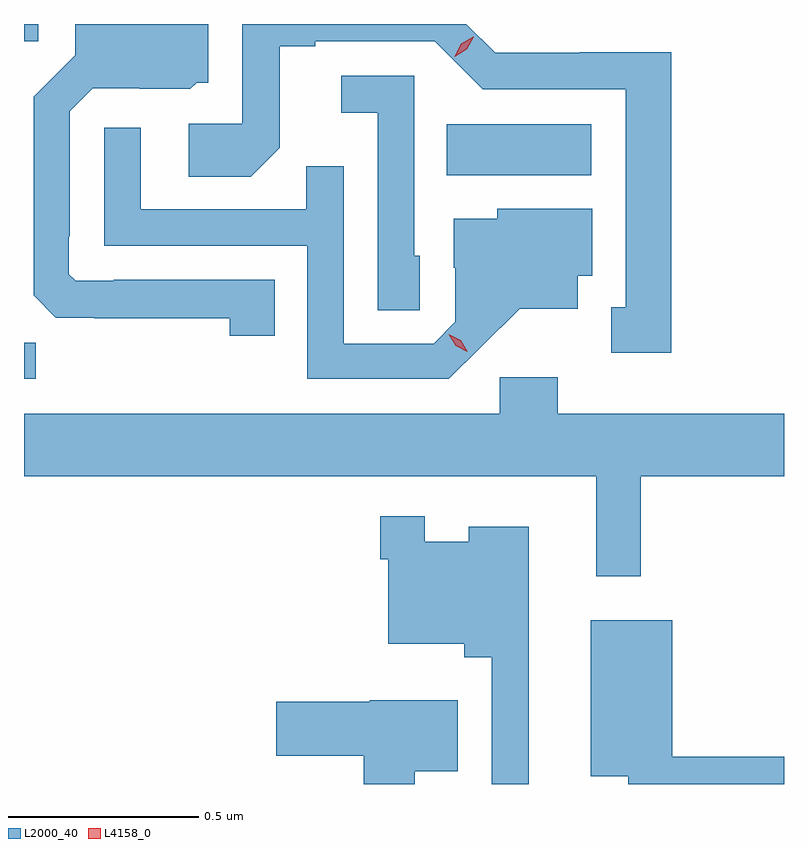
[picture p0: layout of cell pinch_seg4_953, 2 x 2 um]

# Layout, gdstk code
import gdstk
lib = gdstk.Library(unit=1e-6, precision=1e-09)
def R(c, l, rs):  # rectangles x0, y0, x1, y1
    for r in rs: c.add(gdstk.rectangle(r[:2], r[2:], *l))
def P(c, l, *ps):  # polygons
    for p in ps: c.add(gdstk.Polygon(p, *l))
L2000_40 = (2000, 40)
L4158_0 = (4158, 0)

pinch_seg4_953 = lib.new_cell('pinch_seg4_953')
R(pinch_seg4_953, L2000_40, [(662.396,799.74,662.427,799.835), (663.508,800.276,663.889,800.41), (662.396,800.628,662.434,800.674)])
P(pinch_seg4_953, L2000_40, [(663.056,800.001),(662.632,800.001),(662.632,799.998),(662.532,799.998),(662.514,800.016),(662.514,800.116),(662.517,800.116),(662.517,800.445),(662.577,800.505),(662.7,800.505),(662.7,800.504),(662.834,800.504),(662.85,800.52),(662.881,800.52),(662.881,800.674),(662.531,800.674),(662.531,800.592),(662.421,800.482),(662.421,799.96),(662.48,799.901),(662.581,799.901),(662.581,799.9),(662.938,799.9),(662.938,799.854),(663.056,799.854)],
  [(664.099,800.6),(663.858,800.6),(663.858,800.598),(663.636,800.598),(663.56,800.674),(662.97,800.674),(662.97,800.412),(662.829,800.412),(662.829,800.272),(662.993,800.272),(663.069,800.348),(663.069,800.616),(663.163,800.616),(663.163,800.628),(663.477,800.628),(663.603,800.502),(663.98,800.502),(663.98,799.929),(663.941,799.929),(663.941,799.809),(664.099,799.809)],
  [(663.438,800.064),(663.423,800.064),(663.423,800.538),(663.231,800.538),(663.231,800.441),(663.327,800.441),(663.327,799.921),(663.438,799.921)],
  [(663.598,799.823),(663.701,799.925),(663.853,799.925),(663.853,800.012),(663.892,800.012),(663.892,800.188),(663.642,800.188),(663.642,800.161),(663.527,800.161),(663.527,800.032),(663.531,800.032),(663.531,799.89),(663.474,799.833),(663.237,799.833),(663.237,800.3),(663.139,800.3),(663.139,800.187),(662.703,800.187),(662.703,800.401),(662.607,800.401),(662.607,800.091),(663.141,800.091),(663.141,799.74),(663.514,799.74)],
  [(664.019,799.484),(664.396,799.484),(664.396,799.648),(663.8,799.648),(663.8,799.744),(663.648,799.744),(663.648,799.648),(662.396,799.648),(662.396,799.484),(663.902,799.484),(663.902,799.221),(664.019,799.221)],
  [(663.724,799.351),(663.566,799.351),(663.566,799.312),(663.45,799.312),(663.45,799.378),(663.334,799.378),(663.334,799.265),(663.354,799.265),(663.354,799.043),(663.554,799.043),(663.554,799.007),(663.627,799.007),(663.627,798.674),(663.724,798.674)],
  [(664.396,798.746),(664.102,798.746),(664.102,799.105),(663.887,799.105),(663.887,798.695),(663.986,798.695),(663.986,798.674),(664.396,798.674)],
  [(663.424,798.707),(663.538,798.707),(663.538,798.895),(663.306,798.895),(663.306,798.89),(663.06,798.89),(663.06,798.748),(663.29,798.748),(663.29,798.674),(663.424,798.674)])
P(pinch_seg4_953, L4158_0, [(663.563,799.812),(663.532,799.827),(663.514,799.857),(663.514,799.857),(663.514,799.857),(663.545,799.842),(663.563,799.813),(663.563,799.812)],
  [(663.53,800.588),(663.53,800.589),(663.547,800.622),(663.578,800.641),(663.579,800.641),(663.579,800.64),(663.561,800.608),(663.53,800.588)])

lib.write_gds('pinch_seg4_953.gds')
